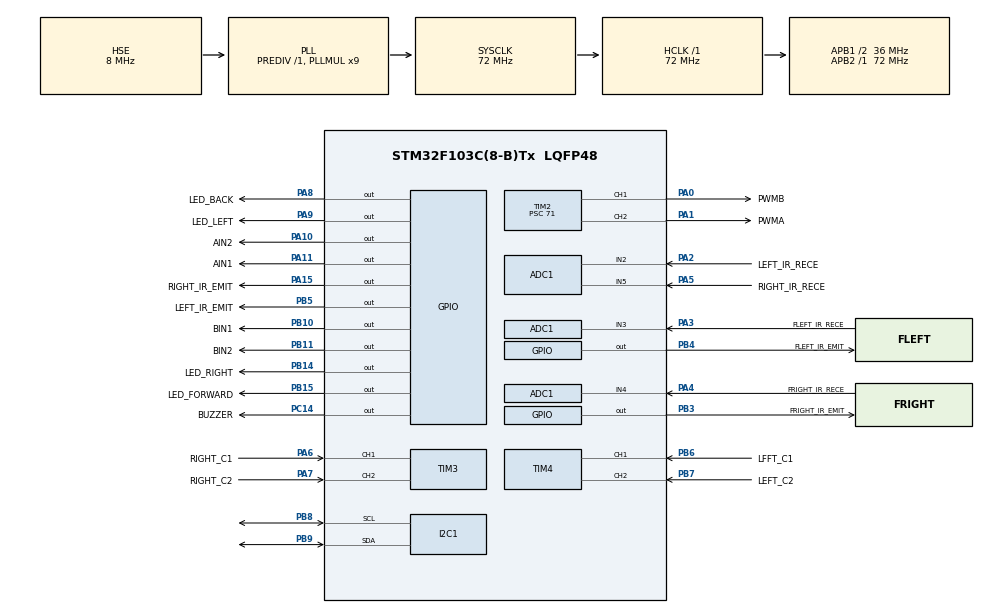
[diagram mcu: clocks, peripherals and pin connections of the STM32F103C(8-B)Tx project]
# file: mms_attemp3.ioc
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ADC1.Channel-0\#ChannelRegularConversion=ADC_CHANNEL_2
ADC1.Channel-1\#ChannelRegularConversion=ADC_CHANNEL_3
ADC1.Channel-2\#ChannelRegularConversion=ADC_CHANNEL_4
ADC1.Channel-3\#ChannelRegularConversion=ADC_CHANNEL_5
ADC1.ContinuousConvMode=ENABLE
ADC1.NbrOfConversion=4
ADC1.NbrOfConversionFlag=1
ADC1.Rank-0\#ChannelRegularConversion=1
ADC1.Rank-1\#ChannelRegularConversion=2
ADC1.Rank-2\#ChannelRegularConversion=3
ADC1.Rank-3\#ChannelRegularConversion=4
ADC1.SamplingTime-0\#ChannelRegularConversion=ADC_SAMPLETIME_13CYCLES_5
ADC1.SamplingTime-1\#ChannelRegularConversion=ADC_SAMPLETIME_13CYCLES_5
ADC1.SamplingTime-2\#ChannelRegularConversion=ADC_SAMPLETIME_13CYCLES_5
ADC1.SamplingTime-3\#ChannelRegularConversion=ADC_SAMPLETIME_13CYCLES_5
ADC1.master=1
Dma.ADC1.0.Direction=DMA_PERIPH_TO_MEMORY
Dma.ADC1.0.Instance=DMA1_Channel1
Dma.ADC1.0.MemDataAlignment=DMA_MDATAALIGN_HALFWORD
Dma.ADC1.0.MemInc=DMA_MINC_ENABLE
Dma.ADC1.0.Mode=DMA_NORMAL
Dma.ADC1.0.PeriphDataAlignment=DMA_PDATAALIGN_HALFWORD
Dma.ADC1.0.PeriphInc=DMA_PINC_DISABLE
Dma.ADC1.0.Priority=DMA_PRIORITY_LOW
Dma.Request0=ADC1
Mcu.Family=STM32F1
Mcu.Name=STM32F103C(8-B)Tx
Mcu.Package=LQFP48
NVIC.DMA1_Channel1_IRQn=true\:0\:0\:false\:false\:true\:false\:true\:true
NVIC.I2C1_EV_IRQn=true\:0\:0\:false\:false\:true\:true\:true\:true
NVIC.PriorityGroup=NVIC_PRIORITYGROUP_4
NVIC.TIM1_UP_IRQn=true\:0\:0\:false\:false\:true\:true\:true\:true
NVIC.TIM3_IRQn=true\:0\:0\:false\:false\:true\:true\:true\:true
NVIC.TIM4_IRQn=true\:0\:0\:false\:false\:true\:true\:true\:true
PA0-WKUP.GPIO_Label=PWMB
PA0-WKUP.Signal=S_TIM2_CH1_ETR
PA1.GPIO_Label=PWMA
PA1.Signal=S_TIM2_CH2
PA10.GPIO_Label=AIN2
PA10.Signal=GPIO_Output
PA11.GPIO_Label=AIN1
PA11.Signal=GPIO_Output
PA13.Mode=Serial_Wire
PA13.Signal=SYS_JTMS-SWDIO
PA14.Mode=Serial_Wire
PA14.Signal=SYS_JTCK-SWCLK
PA15.GPIO_Label=RIGHT_IR_EMIT
PA15.Signal=GPIO_Output
PA2.GPIO_Label=LEFT_IR_RECE
PA2.Signal=ADCx_IN2
PA3.GPIO_Label=FLEFT_IR_RECE
PA3.Signal=ADCx_IN3
PA4.GPIO_Label=FRIGHT_IR_RECE
PA4.Signal=ADCx_IN4
PA5.GPIO_Label=RIGHT_IR_RECE
PA5.Signal=ADCx_IN5
PA6.GPIO_Label=RIGHT_C1
PA6.Signal=S_TIM3_CH1
PA7.GPIO_Label=RIGHT_C2
PA7.Signal=S_TIM3_CH2
PA8.GPIO_Label=LED_BACK
PA8.Signal=GPIO_Output
PA9.GPIO_Label=LED_LEFT
PA9.Signal=GPIO_Output
PB10.GPIO_Label=BIN1
PB10.Signal=GPIO_Output
PB11.GPIO_Label=BIN2
PB11.Signal=GPIO_Output
PB14.GPIO_Label=LED_RIGHT
PB14.Signal=GPIO_Output
PB15.GPIO_Label=LED_FORWARD
PB15.Signal=GPIO_Output
PB3.GPIO_Label=FRIGHT_IR_EMIT
PB3.Signal=GPIO_Output
PB4.GPIO_Label=FLEFT_IR_EMIT
PB4.Signal=GPIO_Output
PB5.GPIO_Label=LEFT_IR_EMIT
PB5.Signal=GPIO_Output
PB6.GPIO_Label=LFFT_C1
PB6.GPIO_Mode=GPIO_MODE_INPUT
PB6.GPIO_PuPd=GPIO_NOPULL
PB6.Signal=S_TIM4_CH1
PB7.GPIO_Label=LEFT_C2
PB7.GPIO_Mode=GPIO_MODE_INPUT
PB7.GPIO_PuPd=GPIO_NOPULL
PB7.Signal=S_TIM4_CH2
PB8.Mode=I2C
PB8.Signal=I2C1_SCL
PB9.Mode=I2C
PB9.Signal=I2C1_SDA
PC14-OSC32_IN.GPIO_Label=BUZZER
PC14-OSC32_IN.Signal=GPIO_Output
PD0-OSC_IN.Mode=HSE-External-Oscillator
PD0-OSC_IN.Signal=RCC_OSC_IN
PD1-OSC_OUT.Mode=HSE-External-Oscillator
PD1-OSC_OUT.Signal=RCC_OSC_OUT
ProjectManager.HeapSize=0x200
ProjectManager.StackSize=0x400
ProjectManager.TargetToolchain=STM32CubeIDE
RCC.ADCPresc=RCC_ADCPCLK2_DIV6
RCC.AHBFreq_Value=72000000
RCC.APB1CLKDivider=RCC_HCLK_DIV2
RCC.APB1Freq_Value=36000000
RCC.APB1TimFreq_Value=72000000
RCC.APB2Freq_Value=72000000
RCC.APB2TimFreq_Value=72000000
RCC.HCLKFreq_Value=72000000
RCC.PLLMUL=RCC_PLL_MUL9
RCC.PLLSourceVirtual=RCC_PLLSOURCE_HSE
RCC.SYSCLKFreq_VALUE=72000000
RCC.SYSCLKSource=RCC_SYSCLKSOURCE_PLLCLK
RCC.USBFreq_Value=72000000
SH.ADCx_IN2.0=ADC1_IN2,IN2
SH.ADCx_IN3.0=ADC1_IN3,IN3
SH.ADCx_IN4.0=ADC1_IN4,IN4
SH.ADCx_IN5.0=ADC1_IN5,IN5
SH.S_TIM2_CH1_ETR.0=TIM2_CH1,PWM Generation1 CH1
SH.S_TIM2_CH2.0=TIM2_CH2,PWM Generation2 CH2
SH.S_TIM3_CH1.0=TIM3_CH1,Encoder_Interface
SH.S_TIM3_CH2.0=TIM3_CH2,Encoder_Interface
SH.S_TIM4_CH1.0=TIM4_CH1,Encoder_Interface
SH.S_TIM4_CH2.0=TIM4_CH2,Encoder_Interface
TIM1.Period=999
TIM1.Prescaler=71
TIM2.Channel-PWM\ Generation1\ CH1=TIM_CHANNEL_1
TIM2.Channel-PWM\ Generation2\ CH2=TIM_CHANNEL_2
TIM2.Period=499
TIM2.Prescaler=71
TIM3.EncoderMode=TIM_ENCODERMODE_TI12
TIM4.EncoderMode=TIM_ENCODERMODE_TI12
VP_TIM1_VS_ClockSourceINT.Mode=Internal
board=custom

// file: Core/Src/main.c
/* USER CODE BEGIN Header */
/**
 ******************************************************************************
 * @file           : main.c
 * @brief          : Main program body
 ******************************************************************************
 * @attention
 *
 * Copyright (c) 2025 STMicroelectronics.
 * All rights reserved.
 *
 * This software is licensed under terms that can be found in the LICENSE file
 * in the root directory of this software component.
 * If no LICENSE file comes with this software, it is provided AS-IS.
 *
 ******************************************************************************
 */
/* USER CODE END Header */
#include "main.h"

/* USER CODE BEGIN Includes */
#include <gyro.h>
#include <pid.h>
#include <motor.h>
#include <IR.h>
#include <stdbool.h>
#include <FSM.h>
#include <FLOODFILL.h>
/* USER CODE END Includes */

/* USER CODE BEGIN PTD */
PID_TypeDef RPID;
PID_TypeDef LPID;
PID_TypeDef TURNPID;
PID_TypeDef TURNBACKPID;
PID_TypeDef RIGHTIRPID;
PID_TypeDef LEFTIRPID;
PID_TypeDef GYROPID;
/* USER CODE END PTD */

/* USER CODE BEGIN PD */
#define N_PULSES 350

/* USER CODE END PD */

ADC_HandleTypeDef hadc1;
DMA_HandleTypeDef hdma_adc1;

I2C_HandleTypeDef hi2c1;

TIM_HandleTypeDef htim1;
TIM_HandleTypeDef htim2;
TIM_HandleTypeDef htim3;
TIM_HandleTypeDef htim4;

/* USER CODE BEGIN PV */
Motor Left_motor;
Motor *pLeft = &Left_motor;
Motor Right_motor;
Motor *pRight = &Right_motor;

volatile bool tick_start;
uint32_t check_count;

//-----MAZE VARIABLE------

Maze _MyMaze;
Maze *toMyMaze = &_MyMaze;

//-----MousePose profile

MousePose _MyMousePose;
MousePose *toMyMousePose = &_MyMousePose;

//-----Cell queue used for floodfilling

Cell_Queue _MyCellQueue;
Cell_Queue *toMyCellQueue = &_MyCellQueue;

//-----Action Stack used for execute action

Action_Stack _MyActionStack;
Action_Stack *toMyActionStack = &_MyActionStack;

//-----LOW LEVEL FSM STATE

/*extern State cur_state = IDLE;*/ // declared in motor.h and motor.c

//-----HIGH LEVEL FSM STATE

/*extern Phase cur_phase = SENSOR_PHR;*/ // declared in FSM.H and FSM.c

/* USER CODE END PV */

void SystemClock_Config(void);
static void MX_GPIO_Init(void);
static void MX_DMA_Init(void);
static void MX_I2C1_Init(void);
static void MX_TIM1_Init(void);
static void MX_ADC1_Init(void);
static void MX_TIM2_Init(void);
static void MX_TIM3_Init(void);
static void MX_TIM4_Init(void);

int main(void)
{

  /* MCU Configuration--------------------------------------------------------*/

  /* Reset of all peripherals, Initializes the Flash interface and the Systick. */
  HAL_Init();

  /* Configure the system clock */
  SystemClock_Config();

  /* Initialize all configured peripherals */
  MX_GPIO_Init();
  MX_DMA_Init();
  MX_I2C1_Init();
  MX_TIM1_Init();
  MX_ADC1_Init();
  MX_TIM2_Init();
  MX_TIM3_Init();
  MX_TIM4_Init();
  /* USER CODE BEGIN 2 */

  // Motor Initialization
  //  Motor_Init(&Right_motor, RIGHT,
  //             AIN1_GPIO_Port, AIN1_Pin, AIN2_GPIO_Port, AIN2_Pin,
  //             &htim2, TIM_CHANNEL_2, &htim3, 0.3, 1.9, 0.003);
  //  Motor_Init(&Left_motor, LEFT,
  //             BIN1_GPIO_Port, BIN1_Pin, BIN2_GPIO_Port, BIN2_Pin,
  //             &htim2, TIM_CHANNEL_1, &htim4, 0.3, 1.9, 0.003);
  Motor_Init(&Right_motor, RIGHT,
             AIN1_GPIO_Port, AIN1_Pin, AIN2_GPIO_Port, AIN2_Pin,
             &htim2, TIM_CHANNEL_2, &htim3, 3.75, 0, 0.5);
  Motor_Init(&Left_motor, LEFT,
             BIN1_GPIO_Port, BIN1_Pin, BIN2_GPIO_Port, BIN2_Pin,
             &htim2, TIM_CHANNEL_1, &htim4, 3.75, 0, 0.5);

  Motor_SetTarget(pRight, 0);
  Motor_SetTarget(pLeft, 0);
  HAL_TIM_Base_Start_IT(&htim1);
  HAL_TIM_Encoder_Start(&htim3, TIM_CHANNEL_ALL);
  __HAL_TIM_SET_COUNTER(&htim3, 0);
  HAL_TIM_Encoder_Start(&htim4, TIM_CHANNEL_ALL);
  __HAL_TIM_SET_COUNTER(&htim4, 0);

  HAL_TIM_PWM_Start(&htim2, TIM_CHANNEL_1);
  HAL_TIM_PWM_Start(&htim2, TIM_CHANNEL_2);
  PID(&RPID,
      &(pRight->cur_speed),
      &(pRight->Pid_output),
      &(pRight->target_speed),
      pRight->kp, pRight->ki, pRight->kd,
      _PID_P_ON_E, _PID_CD_DIRECT);
  PID_SetMode(&RPID, _PID_MODE_AUTOMATIC);
  PID_SetSampleTime(&RPID, 2);
  PID_SetOutputLimits(&RPID, -499, 499);

  PID(&LPID,
      &(pLeft->cur_speed),
      &(pLeft->Pid_output),
      &(pLeft->target_speed),
      pLeft->kp, pLeft->ki, pLeft->kd,
      _PID_P_ON_E, _PID_CD_DIRECT);
  PID_SetMode(&LPID, _PID_MODE_AUTOMATIC);
  PID_SetSampleTime(&LPID, 2);
  PID_SetOutputLimits(&LPID, -499, 499);

  PID(&TURNBACKPID, &encoder_progress, &encoder_output, &encoder_target, 0.5, 0.15, 0.1, _PID_P_ON_E, _PID_CD_DIRECT);
  PID_SetMode(&TURNBACKPID, _PID_MODE_AUTOMATIC);
  PID_SetSampleTime(&TURNBACKPID, 2);
  PID_SetOutputLimits(&TURNBACKPID, -90, 90);

  PID(&TURNPID, &encoder_progress, &encoder_output, &encoder_target, 0.45, 0.15, 0.1, _PID_P_ON_E, _PID_CD_DIRECT);
  PID_SetMode(&TURNPID, _PID_MODE_AUTOMATIC);
  PID_SetSampleTime(&TURNPID, 1);
  PID_SetOutputLimits(&TURNPID, -90, 90);

  PID(&RIGHTIRPID, &frightIRin, &frightIRoutput, &frightIRsetvalue, 0.5, 0, 0, _PID_P_ON_E, _PID_CD_DIRECT);
  PID_SetMode(&RIGHTIRPID, _PID_MODE_AUTOMATIC);
  PID_SetSampleTime(&RIGHTIRPID, 1);
  PID_SetOutputLimits(&RIGHTIRPID, -100, 100);

  PID(&LEFTIRPID, &fleftIRin, &fleftIRoutput, &fleftIRsetvalue, 0.5, 0, 0, _PID_P_ON_E, _PID_CD_DIRECT);
  PID_SetMode(&LEFTIRPID, _PID_MODE_AUTOMATIC);
  PID_SetSampleTime(&LEFTIRPID, 1);
  PID_SetOutputLimits(&LEFTIRPID, -100, 100);

  PID(&GYROPID, &angle, &gyro_pid_out, &gyro_pid_set, 0.6, 0, 0.005, _PID_P_ON_E, _PID_CD_DIRECT);
  PID_SetMode(&GYROPID, _PID_MODE_AUTOMATIC);
  PID_SetSampleTime(&GYROPID, 1);
  PID_SetOutputLimits(&GYROPID, -90, 90);

  frightIRsetvalue = 3000;
  fleftIRsetvalue = 3150;

  // State initialization
  cur_phase = BEGIN_PHR;
  cur_state = IDLE;
  pre_calib_state = IDLE;

  check_count = 0;

  // Gyro initialization
  LSM6DS3_Init();
  // IR initialization
  HAL_ADCEx_Calibration_Start(&hadc1);
  ir_status = OKAY;

  // Maze initialization
  MazeInitialize(toMyMaze);

  // Mouse Pose init
  PoseInit(toMyMousePose, NORTH, Xstart, Ystart);

  // Action stack init
  Action_Stack_Init(toMyActionStack);

  // Cell queue init
  CellQueueInitialize(toMyCellQueue);

  // khởi tạo maze
  // khởi tạo danh sách cell
  // khởi tạo danh sách hành động
  // khởi tạo pose
  //

  /* USER CODE END 2 */

  /* Infinite loop */
  while (1)
  {

    /* USER CODE BEGIN 3 */
    if (tick_start) // tick 1ms
    {
      tick_start = false;
//
//            		  cur_phase = SENSOR_PHR;
//            		  ReadIR(&hadc1);
//            		  HAL_Delay(100);
      Motor_GetSpeed(&Left_motor);
      Motor_GetSpeed(&Right_motor);

      //      switch (cur_state) {
      //      case MOVE:
      //    	  Move_forward(pLeft, pRight);
      //    	  if (cur_state == MOVE)
      //    	  {
      //    		  PID_Compute(&RPID);
      //    		  PID_Compute(&LPID);
      //    	  }
      //    	  if (cur_state == COOL_DOWN)
      //    	  {
      //    		  prevtime = HAL_GetTick();
      //    		  PID_SetMode(&RPID, _PID_MODE_MANUAL);
      //    		  PID_SetMode(&LPID, _PID_MODE_MANUAL);
      //    	  }
      //    	  Motor_SetPwm(&Left_motor);
      //    	  Motor_SetPwm(&Right_motor);
      //    	  break;
      //			case TURN_BACK:
      //				Move_backward(pLeft, pRight);
      //				PID_Compute(&TURNBACKPID);
      //				if (cur_state == COOL_DOWN)
      //				{
      //					prevtime = HAL_GetTick();
      //					PID_SetMode(&TURNBACKPID, _PID_MODE_MANUAL);
      //				}
      //				Motor_SetPwm(&Left_motor);
      //				Motor_SetPwm(&Right_motor);
      //				break;
      //      case TURN_LEFT:
      //    	  Move_Left(pLeft, pRight);
      //    	            if (cur_state == TURN_LEFT)
      //    	            {
      //    	              PID_Compute(&TURNPID);
      //    	            }
      //    	            if (cur_state == COOL_DOWN)
      //    	            {
      //    	              prevtime = HAL_GetTick();
      //    	              PID_SetMode(&TURNPID, _PID_MODE_MANUAL);
      //    	            }
      //    	            Motor_SetPwm(&Left_motor);
      //    	            Motor_SetPwm(&Right_motor);
      //    	            break;
      //      case COOL_DOWN:
      //    	  if (HAL_GetTick() - prevtime > 1000)
      //    	  {
      //    		  PID_SetMode(&TURNPID, _PID_MODE_AUTOMATIC);
      //    		  PID_SetMode(&RPID, _PID_MODE_AUTOMATIC);
      //    		  PID_SetMode(&LPID, _PID_MODE_AUTOMATIC);
      //    		  cur_state = MOVE;
      //    		  prevtime = HAL_GetTick();
      //    	  }
      //    	  break;
      //      default:
      //    	  break;
      //      }

      //      cur_phase = CALIB_PHR;
      //      if(cur_phase == CALIB_PHR)
      //      {
      //    	  Calib_Move(pLeft, pRight, &hadc1, &RIGHTIRPID, &LEFTIRPID);
      //      }

      switch (cur_phase)
      {
      case BEGIN_PHR: // START PROGRAM
        if (Check_Start(&hadc1))
        {
          cur_phase = GYRO_PHR;
          LED_OFF();
          BUZ_OFF();
        }
        if (HAL_GetTick() - buz_time > 100 && cur_phase == BEGIN_PHR)
        {
//          BUZ_TOG();
          buz_time = HAL_GetTick();
        }
        if (HAL_GetTick() - led_time > 100 && cur_phase == BEGIN_PHR)
        {
          LED_TOG();
          led_time = HAL_GetTick();
        }
        break;
        //      case PRE_CALIB_PHR: // GET THE  IR OFFSET VALUE
        //    	  switch (cur_state) {
        //  			case IDLE:
        //  				if(!calib_value_take && calib_turn == 0)
        //  				{
        //  					cur_state = TURN_BACK;
        //  				}
        //  				else if(calib_value_take && calib_turn == 1)
        //  				{
        //  					cur_state = TURN_BACK;
        //  				}
        //  				else if(calib_value_take && calib_turn == 2)
        //  				{
        //  					cur_phase = GYRO_PHR;
        //  					calib_turn = 0;
        //  					calib_value_take = false;
        //  				}
        //  				break;
        //  			case COOL_DOWN:
        //  	            PID_SetMode(&TURNBACKPID, _PID_MODE_AUTOMATIC);
        //  				if(!calib_value_take && !calib_ir_start_flag)
        //  				{
        //  					if(HAL_GetTick() - prevtime > 1000)
        //  					{
        //  						ReadIR(&hadc1);
        //  						prevtime = HAL_GetTick();
        //  					}
        //  				}
        //  				if(calib_value_take)
        //  				{
        //  					frightIRsetvalue = (double)FRIGHT_IR;
        //  					fleftIRsetvalue = (double)FLEFT_IR;
        //  					cur_state = IDLE;
        //  				}
        //  				break;
        //  			case TURN_BACK:
        //  				Move_backward(pLeft, pRight);
        //  				if(cur_state == TURN_BACK)
        //  				{
        //  				    PID_Compute(&TURNBACKPID);              // chỉ tính khi CHƯA xong
        //  				}
        //  				PID_Compute(&TURNBACKPID);
        //  				if (cur_state == COOL_DOWN)
        //  				{
        //  					calib_turn += 1;
        //  					prevtime = HAL_GetTick();
        //  					PID_SetMode(&TURNBACKPID, _PID_MODE_MANUAL);
        //  				}
        //  				Motor_SetPwm(&Left_motor);
        //  				Motor_SetPwm(&Right_motor);
        //  				break;
        //  			default:
        //  				break;
        //  		}
        //    	  break;
      case CALIB_PHR:
        if (calib_flag == false)
        {
          if (calib_stage == 0 || calib_stage == 1)
            Calib_Move(pLeft, pRight, &hadc1, &RIGHTIRPID, &LEFTIRPID);
        }
        if (calib_flag == true)
        {
          calib_stage += 1;
          if (calib_stage == 1)
          {
            cur_phase = EXECUTE_PHR;
            calib_done = false;
            calib_flag = false;
            break;
          }
          if (calib_stage == 2)
          {
            cur_phase = FINDPATH_PHR;
            calib_stage = 0;
            calib_done = false;
            calib_flag = false;
            break;
          }
        }
        break;
      case GYRO_PHR: // CALIBRATE GYRO
        if (!gyro_calib_done)
        {
          Gyro_Calib();
        }
        else
          cur_phase = SENSOR_PHR;
        break;
      case SENSOR_PHR: // GET NEW CELL WALL INFORMATION
        ReadIR(&hadc1);
        break;
      case UPDATE_PHR: // UPDATE MAZE INFORMATION
        MazeUpdate(toMyMaze, toMyMousePose);
        if (CalibCornetExit(toMyMousePose, toMyMaze, toMyActionStack))
        {
          cur_phase = CALIB_PHR;
        }
        break;
      case FINDPATH_PHR: // FIND NEXT CELL TO GO
        if (FindNextCell(toMyMaze, toMyMousePose, toMyActionStack))
        {
          cur_phase = EXECUTE_PHR;
          break;
        }
        else
        {
          cur_phase = ALGORITHM1_PHR;
          break;
        }
      case ALGORITHM1_PHR:
        MazeFloodFill(toMyMaze, toMyCellQueue, toMyMousePose);
        break;
      case ALGORITHM2_PHR:
        MazeFloodFill(toMyMaze, toMyCellQueue, toMyMousePose);
        break;
      case EXECUTE_PHR:
        Gyro_Angle_update();
        switch (cur_state)
        {
        case IDLE:
          if (CheckGoal(toMyMousePose, toMyMaze))
          {
            cur_phase = COMPLETE_PHR;
            break;
          }
          else
          {
            ExecuteAct(toMyMousePose, toMyActionStack);
            break;
          }
        case TURN_LEFT:
          Move_Left(pLeft, pRight);
          if (cur_state == TURN_LEFT)
          {
            PID_Compute(&TURNPID);
          }
          if (cur_state == COOL_DOWN)
          {
            prevtime = HAL_GetTick();
            PID_SetMode(&TURNPID, _PID_MODE_MANUAL);
          }
          Motor_SetPwm(&Left_motor);
          Motor_SetPwm(&Right_motor);
          break;
        case TURN_RIGHT:
          Move_Right(pLeft, pRight);
          if (cur_state == TURN_RIGHT)
          {
            PID_Compute(&TURNPID);
          }
          if (cur_state == COOL_DOWN)
          {
            prevtime = HAL_GetTick();
            PID_SetMode(&TURNPID, _PID_MODE_MANUAL);
          }
          Motor_SetPwm(&Left_motor);
          Motor_SetPwm(&Right_motor);
          break;
        case MOVE:
          Move_forward(pLeft, pRight);
          if (cur_state == MOVE)
          {
            PID_Compute(&RPID);
            PID_Compute(&LPID);
            PID_Compute(&GYROPID);
          }
          if (cur_state == COOL_DOWN)
          {
            prevtime = HAL_GetTick();
            PID_SetMode(&RPID, _PID_MODE_MANUAL);
            PID_SetMode(&LPID, _PID_MODE_MANUAL);
          }
          Motor_SetPwm(&Left_motor);
          Motor_SetPwm(&Right_motor);
          break;
        case TURN_BACK:
          Move_backward(pLeft, pRight);
          PID_Compute(&TURNBACKPID);
          if (cur_state == COOL_DOWN)
          {
            prevtime = HAL_GetTick();
            PID_SetMode(&TURNBACKPID, _PID_MODE_MANUAL);
          }
          Motor_SetPwm(&Left_motor);
          Motor_SetPwm(&Right_motor);
          break;
        case COOL_DOWN:
          if (HAL_GetTick() - prevtime > 500)
          {
            PID_SetMode(&TURNPID, _PID_MODE_AUTOMATIC);
            PID_SetMode(&TURNBACKPID, _PID_MODE_AUTOMATIC);
            PID_SetMode(&RPID, _PID_MODE_AUTOMATIC);
            PID_SetMode(&LPID, _PID_MODE_AUTOMATIC);
            cur_state = IDLE;
            prevtime = HAL_GetTick();
          }
          break;
        default:
          break;
        }
        break;
      case COMPLETE_PHR:
        if (HAL_GetTick() - buz_time > 50 && cur_phase == COMPLETE_PHR)
        {
          BUZ_TOG();
          buz_time = HAL_GetTick();
        }
        if (HAL_GetTick() - led_time > 50 && cur_phase == COMPLETE_PHR)
        {
          LED_TOG();
          led_time = HAL_GetTick();
        }
      default:
        break;
      }
    }
  }
  /* USER CODE END 3 */
}

void SystemClock_Config(void)
{
  RCC_OscInitTypeDef RCC_OscInitStruct = {0};
  RCC_ClkInitTypeDef RCC_ClkInitStruct = {0};
  RCC_PeriphCLKInitTypeDef PeriphClkInit = {0};

  /** Initializes the RCC Oscillators according to the specified parameters
   * in the RCC_OscInitTypeDef structure.
   */
  RCC_OscInitStruct.OscillatorType = RCC_OSCILLATORTYPE_HSE;
  RCC_OscInitStruct.HSEState = RCC_HSE_ON;
  RCC_OscInitStruct.HSEPredivValue = RCC_HSE_PREDIV_DIV1;
  RCC_OscInitStruct.HSIState = RCC_HSI_ON;
  RCC_OscInitStruct.PLL.PLLState = RCC_PLL_ON;
  RCC_OscInitStruct.PLL.PLLSource = RCC_PLLSOURCE_HSE;
  RCC_OscInitStruct.PLL.PLLMUL = RCC_PLL_MUL9;
  if (HAL_RCC_OscConfig(&RCC_OscInitStruct) != HAL_OK)
  {
    Error_Handler();
  }

  /** Initializes the CPU, AHB and APB buses clocks
   */
  RCC_ClkInitStruct.ClockType = RCC_CLOCKTYPE_HCLK | RCC_CLOCKTYPE_SYSCLK | RCC_CLOCKTYPE_PCLK1 | RCC_CLOCKTYPE_PCLK2;
  RCC_ClkInitStruct.SYSCLKSource = RCC_SYSCLKSOURCE_PLLCLK;
  RCC_ClkInitStruct.AHBCLKDivider = RCC_SYSCLK_DIV1;
  RCC_ClkInitStruct.APB1CLKDivider = RCC_HCLK_DIV2;
  RCC_ClkInitStruct.APB2CLKDivider = RCC_HCLK_DIV1;

  if (HAL_RCC_ClockConfig(&RCC_ClkInitStruct, FLASH_LATENCY_2) != HAL_OK)
  {
    Error_Handler();
  }
  PeriphClkInit.PeriphClockSelection = RCC_PERIPHCLK_ADC;
  PeriphClkInit.AdcClockSelection = RCC_ADCPCLK2_DIV6;
  if (HAL_RCCEx_PeriphCLKConfig(&PeriphClkInit) != HAL_OK)
  {
    Error_Handler();
  }
}

static void MX_ADC1_Init(void)
{

  ADC_ChannelConfTypeDef sConfig = {0};

  /** Common config
   */
  hadc1.Instance = ADC1;
  hadc1.Init.ScanConvMode = ADC_SCAN_ENABLE;
  hadc1.Init.ContinuousConvMode = ENABLE;
  hadc1.Init.DiscontinuousConvMode = DISABLE;
  hadc1.Init.ExternalTrigConv = ADC_SOFTWARE_START;
  hadc1.Init.DataAlign = ADC_DATAALIGN_RIGHT;
  hadc1.Init.NbrOfConversion = 4;
  if (HAL_ADC_Init(&hadc1) != HAL_OK)
  {
    Error_Handler();
  }

  /** Configure Regular Channel
   */
  sConfig.Channel = ADC_CHANNEL_2;
  sConfig.Rank = ADC_REGULAR_RANK_1;
  sConfig.SamplingTime = ADC_SAMPLETIME_13CYCLES_5;
  if (HAL_ADC_ConfigChannel(&hadc1, &sConfig) != HAL_OK)
  {
    Error_Handler();
  }

  /** Configure Regular Channel
   */
  sConfig.Channel = ADC_CHANNEL_3;
  sConfig.Rank = ADC_REGULAR_RANK_2;
  if (HAL_ADC_ConfigChannel(&hadc1, &sConfig) != HAL_OK)
  {
    Error_Handler();
  }

  /** Configure Regular Channel
   */
  sConfig.Channel = ADC_CHANNEL_4;
  sConfig.Rank = ADC_REGULAR_RANK_3;
  if (HAL_ADC_ConfigChannel(&hadc1, &sConfig) != HAL_OK)
  {
    Error_Handler();
  }

  /** Configure Regular Channel
   */
  sConfig.Channel = ADC_CHANNEL_5;
  sConfig.Rank = ADC_REGULAR_RANK_4;
  if (HAL_ADC_ConfigChannel(&hadc1, &sConfig) != HAL_OK)
  {
    Error_Handler();
  }
}

static void MX_I2C1_Init(void)
{

  hi2c1.Instance = I2C1;
  hi2c1.Init.ClockSpeed = 100000;
  hi2c1.Init.DutyCycle = I2C_DUTYCYCLE_2;
  hi2c1.Init.OwnAddress1 = 0;
  hi2c1.Init.AddressingMode = I2C_ADDRESSINGMODE_7BIT;
  hi2c1.Init.DualAddressMode = I2C_DUALADDRESS_DISABLE;
  hi2c1.Init.OwnAddress2 = 0;
  hi2c1.Init.GeneralCallMode = I2C_GENERALCALL_DISABLE;
  hi2c1.Init.NoStretchMode = I2C_NOSTRETCH_DISABLE;
  if (HAL_I2C_Init(&hi2c1) != HAL_OK)
  {
    Error_Handler();
  }
}

static void MX_TIM1_Init(void)
{

  TIM_ClockConfigTypeDef sClockSourceConfig = {0};
  TIM_MasterConfigTypeDef sMasterConfig = {0};

  htim1.Instance = TIM1;
  htim1.Init.Prescaler = 71;
  htim1.Init.CounterMode = TIM_COUNTERMODE_UP;
  htim1.Init.Period = 999;
  htim1.Init.ClockDivision = TIM_CLOCKDIVISION_DIV1;
  htim1.Init.RepetitionCounter = 0;
  htim1.Init.AutoReloadPreload = TIM_AUTORELOAD_PRELOAD_DISABLE;
  if (HAL_TIM_Base_Init(&htim1) != HAL_OK)
  {
    Error_Handler();
  }
  sClockSourceConfig.ClockSource = TIM_CLOCKSOURCE_INTERNAL;
  if (HAL_TIM_ConfigClockSource(&htim1, &sClockSourceConfig) != HAL_OK)
  {
    Error_Handler();
  }
  sMasterConfig.MasterOutputTrigger = TIM_TRGO_RESET;
  sMasterConfig.MasterSlaveMode = TIM_MASTERSLAVEMODE_DISABLE;
  if (HAL_TIMEx_MasterConfigSynchronization(&htim1, &sMasterConfig) != HAL_OK)
  {
    Error_Handler();
  }
}

static void MX_TIM2_Init(void)
{

  TIM_MasterConfigTypeDef sMasterConfig = {0};
  TIM_OC_InitTypeDef sConfigOC = {0};

  htim2.Instance = TIM2;
  htim2.Init.Prescaler = 71;
  htim2.Init.CounterMode = TIM_COUNTERMODE_UP;
  htim2.Init.Period = 499;
  htim2.Init.ClockDivision = TIM_CLOCKDIVISION_DIV1;
  htim2.Init.AutoReloadPreload = TIM_AUTORELOAD_PRELOAD_DISABLE;
  if (HAL_TIM_PWM_Init(&htim2) != HAL_OK)
  {
    Error_Handler();
  }
  sMasterConfig.MasterOutputTrigger = TIM_TRGO_RESET;
  sMasterConfig.MasterSlaveMode = TIM_MASTERSLAVEMODE_DISABLE;
  if (HAL_TIMEx_MasterConfigSynchronization(&htim2, &sMasterConfig) != HAL_OK)
  {
    Error_Handler();
  }
  sConfigOC.OCMode = TIM_OCMODE_PWM1;
  sConfigOC.Pulse = 0;
  sConfigOC.OCPolarity = TIM_OCPOLARITY_HIGH;
  sConfigOC.OCFastMode = TIM_OCFAST_DISABLE;
  if (HAL_TIM_PWM_ConfigChannel(&htim2, &sConfigOC, TIM_CHANNEL_1) != HAL_OK)
  {
    Error_Handler();
  }
  if (HAL_TIM_PWM_ConfigChannel(&htim2, &sConfigOC, TIM_CHANNEL_2) != HAL_OK)
  {
    Error_Handler();
  }
  HAL_TIM_MspPostInit(&htim2);
}

static void MX_TIM3_Init(void)
{

  TIM_Encoder_InitTypeDef sConfig = {0};
  TIM_MasterConfigTypeDef sMasterConfig = {0};

  htim3.Instance = TIM3;
  htim3.Init.Prescaler = 0;
  htim3.Init.CounterMode = TIM_COUNTERMODE_UP;
  htim3.Init.Period = 65535;
  htim3.Init.ClockDivision = TIM_CLOCKDIVISION_DIV1;
  htim3.Init.AutoReloadPreload = TIM_AUTORELOAD_PRELOAD_DISABLE;
  sConfig.EncoderMode = TIM_ENCODERMODE_TI12;
  sConfig.IC1Polarity = TIM_ICPOLARITY_RISING;
  sConfig.IC1Selection = TIM_ICSELECTION_DIRECTTI;
  sConfig.IC1Prescaler = TIM_ICPSC_DIV1;
  sConfig.IC1Filter = 0;
  sConfig.IC2Polarity = TIM_ICPOLARITY_RISING;
  sConfig.IC2Selection = TIM_ICSELECTION_DIRECTTI;
  sConfig.IC2Prescaler = TIM_ICPSC_DIV1;
  sConfig.IC2Filter = 0;
  if (HAL_TIM_Encoder_Init(&htim3, &sConfig) != HAL_OK)
  {
    Error_Handler();
  }
  sMasterConfig.MasterOutputTrigger = TIM_TRGO_RESET;
  sMasterConfig.MasterSlaveMode = TIM_MASTERSLAVEMODE_DISABLE;
  if (HAL_TIMEx_MasterConfigSynchronization(&htim3, &sMasterConfig) != HAL_OK)
  {
    Error_Handler();
  }
  /* USER CODE BEGIN TIM3_Init 2 */
  TIM_OC_InitTypeDef sOC = {0};
  sOC.OCMode = TIM_OCMODE_ACTIVE; // hoặc TOGGLE đều được, vì ta chỉ cần ngắt
  sOC.OCPolarity = TIM_OCPOLARITY_HIGH;
  sOC.Pulse = 0; // sẽ set khi bắt đầu quay

  if (HAL_TIM_OC_ConfigChannel(&htim3, &sOC, TIM_CHANNEL_3) != HAL_OK)
  {
    Error_Handler();
  }

  // Bật NVIC cho TIM3 (nếu CubeMX chưa bật)
  HAL_NVIC_SetPriority(TIM3_IRQn, 1, 0);
  HAL_NVIC_EnableIRQ(TIM3_IRQn);
  /* USER CODE END TIM3_Init 2 */
}

static void MX_TIM4_Init(void)
{

  TIM_Encoder_InitTypeDef sConfig = {0};
  TIM_MasterConfigTypeDef sMasterConfig = {0};

  htim4.Instance = TIM4;
  htim4.Init.Prescaler = 0;
  htim4.Init.CounterMode = TIM_COUNTERMODE_UP;
  htim4.Init.Period = 65535;
  htim4.Init.ClockDivision = TIM_CLOCKDIVISION_DIV1;
  htim4.Init.AutoReloadPreload = TIM_AUTORELOAD_PRELOAD_DISABLE;
  sConfig.EncoderMode = TIM_ENCODERMODE_TI12;
  sConfig.IC1Polarity = TIM_ICPOLARITY_RISING;
  sConfig.IC1Selection = TIM_ICSELECTION_DIRECTTI;
  sConfig.IC1Prescaler = TIM_ICPSC_DIV1;
  sConfig.IC1Filter = 0;
  sConfig.IC2Polarity = TIM_ICPOLARITY_RISING;
  sConfig.IC2Selection = TIM_ICSELECTION_DIRECTTI;
  sConfig.IC2Prescaler = TIM_ICPSC_DIV1;
  sConfig.IC2Filter = 0;
  if (HAL_TIM_Encoder_Init(&htim4, &sConfig) != HAL_OK)
  {
    Error_Handler();
  }
  sMasterConfig.MasterOutputTrigger = TIM_TRGO_RESET;
  sMasterConfig.MasterSlaveMode = TIM_MASTERSLAVEMODE_DISABLE;
  if (HAL_TIMEx_MasterConfigSynchronization(&htim4, &sMasterConfig) != HAL_OK)
  {
    Error_Handler();
  }
}

static void MX_DMA_Init(void)
{

  /* DMA controller clock enable */
  __HAL_RCC_DMA1_CLK_ENABLE();

  /* DMA interrupt init */
  /* DMA1_Channel1_IRQn interrupt configuration */
  HAL_NVIC_SetPriority(DMA1_Channel1_IRQn, 0, 0);
  HAL_NVIC_EnableIRQ(DMA1_Channel1_IRQn);
}

static void MX_GPIO_Init(void)
{
  GPIO_InitTypeDef GPIO_InitStruct = {0};

  /* GPIO Ports Clock Enable */
  __HAL_RCC_GPIOC_CLK_ENABLE();
  __HAL_RCC_GPIOD_CLK_ENABLE();
  __HAL_RCC_GPIOA_CLK_ENABLE();
  __HAL_RCC_GPIOB_CLK_ENABLE();

  /*Configure GPIO pin Output Level */
  HAL_GPIO_WritePin(BUZZER_GPIO_Port, BUZZER_Pin, GPIO_PIN_RESET);

  /*Configure GPIO pin Output Level */
  HAL_GPIO_WritePin(GPIOB, BIN1_Pin | BIN2_Pin | LED_RIGHT_Pin | LED_FORWARD_Pin | FRIGHT_IR_EMIT_Pin | FLEFT_IR_EMIT_Pin | LEFT_IR_EMIT_Pin, GPIO_PIN_RESET);

  /*Configure GPIO pin Output Level */
  HAL_GPIO_WritePin(GPIOA, LED_BACK_Pin | LED_LEFT_Pin | AIN2_Pin | AIN1_Pin | RIGHT_IR_EMIT_Pin, GPIO_PIN_RESET);

  /*Configure GPIO pin : BUZZER_Pin */
  GPIO_InitStruct.Pin = BUZZER_Pin;
  GPIO_InitStruct.Mode = GPIO_MODE_OUTPUT_PP;
  GPIO_InitStruct.Pull = GPIO_NOPULL;
  GPIO_InitStruct.Speed = GPIO_SPEED_FREQ_LOW;
  HAL_GPIO_Init(BUZZER_GPIO_Port, &GPIO_InitStruct);

  /*Configure GPIO pins : BIN1_Pin BIN2_Pin LED_RIGHT_Pin LED_FORWARD_Pin
                           FRIGHT_IR_EMIT_Pin FLEFT_IR_EMIT_Pin LEFT_IR_EMIT_Pin */
  GPIO_InitStruct.Pin = BIN1_Pin | BIN2_Pin | LED_RIGHT_Pin | LED_FORWARD_Pin | FRIGHT_IR_EMIT_Pin | FLEFT_IR_EMIT_Pin | LEFT_IR_EMIT_Pin;
  GPIO_InitStruct.Mode = GPIO_MODE_OUTPUT_PP;
  GPIO_InitStruct.Pull = GPIO_NOPULL;
  GPIO_InitStruct.Speed = GPIO_SPEED_FREQ_LOW;
  HAL_GPIO_Init(GPIOB, &GPIO_InitStruct);

  /*Configure GPIO pins : LED_BACK_Pin LED_LEFT_Pin AIN2_Pin AIN1_Pin
                           RIGHT_IR_EMIT_Pin */
  GPIO_InitStruct.Pin = LED_BACK_Pin | LED_LEFT_Pin | AIN2_Pin | AIN1_Pin | RIGHT_IR_EMIT_Pin;
  GPIO_InitStruct.Mode = GPIO_MODE_OUTPUT_PP;
  GPIO_InitStruct.Pull = GPIO_NOPULL;
  GPIO_InitStruct.Speed = GPIO_SPEED_FREQ_LOW;
  HAL_GPIO_Init(GPIOA, &GPIO_InitStruct);

}

/* USER CODE BEGIN 4 */
void HAL_TIM_PeriodElapsedCallback(TIM_HandleTypeDef *htim)
{
  if (htim->Instance == TIM1) // Timer đang chạy 2ms
  {
    tick_start = true;
  }
}

/* USER CODE END 4 */

void Error_Handler(void)
{
  __disable_irq();
  while (1)
  {
  }
}
